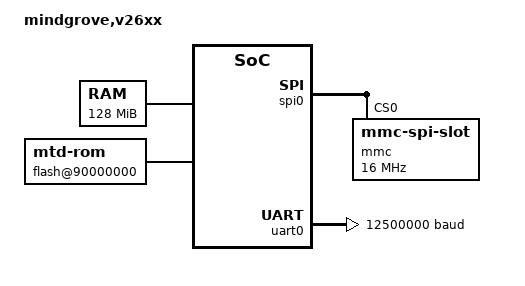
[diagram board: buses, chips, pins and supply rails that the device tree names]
/dts-v1/;

/ {
    #address-cells = <2>;
    #size-cells = <2>;
    compatible = "mindgrove,v26xx";
    model = "mindgrove,v26xx";

    aliases {
        serial0 = &uart0;
    };

    chosen {
        stdout-path = "serial0:1250000n8";
        /* Ensure bootargs point to the correct console */
        bootargs = "earlycon=sbi console=ttyLS0,1250000n8 root=/dev/mmcblk0p1 rootwait";
        
        opensbi_config: config {
            compatible = "opensbi,config";
            cold-boot-harts = <&CPU0 &CPU1 &CPU2 &CPU3>;
        };
    };

    /* * NEW: Reserved memory section. 
     * This tells Linux: "Do not touch this memory, it belongs to firmware/kernel text."
     */
    reserved-memory {
        #address-cells = <2>;
        #size-cells = <2>;
        ranges;

        /* Protect OpenSBI and the first 32MB of the kernel image */
        firmware_res: memory@80000000 {
            reg = <0x0 0x80000000 0x0 0x02000000>;
            no-map;
        };
    };

    /* Primary System RAM */
    memory@80000000 {
        device_type = "memory";
        reg = <0x0 0x80000000 0x0 0x8000000>; // 128MB
    };

    /* * FIXED: Changed device_type. 
     * If these are 'memory', Linux tries to use them as RAM. 
     * Flash cannot be used as system heap RAM.
     */
    flash@90000000 {
        compatible = "mtd-rom"; 
        reg = <0x0 0x90000000 0x0 0x8000000>;
        read-only;
    };

    psram@b0000000 {
        compatible = "mmio-sram";
        reg = <0x0 0xb0000000 0x0 0x8000000>;
    };

    cpus {
        #address-cells = <1>;
        #size-cells = <0>;
        timebase-frequency = <32768>;

        CPU0: cpu@0 {
            device_type = "cpu";
            reg = <0>;
            status = "okay";
            compatible = "mindgrove,c-class", "riscv";
            riscv,isa = "rv64imafdc";
            mmu-type = "riscv,sv39";
            clock-frequency = <1000000000>;
            phandle = <1>;
            CPU0_intc: interrupt-controller {
                #interrupt-cells = <1>;
                interrupt-controller;
                compatible = "riscv,cpu-intc";
            };
        };

        CPU1: cpu@1 {
            device_type = "cpu";
            reg = <1>;
            status = "okay";
            compatible = "mindgrove,c-class", "riscv";
            riscv,isa = "rv64imafdc";
            mmu-type = "riscv,sv39";
            clock-frequency = <1000000000>;
            phandle = <2>;
            CPU1_intc: interrupt-controller {
                #interrupt-cells = <1>;
                interrupt-controller;
                compatible = "riscv,cpu-intc";
            };
        };

        CPU2: cpu@2 {
            device_type = "cpu";
            reg = <2>;
            status = "okay";
            compatible = "mindgrove,c-class", "riscv";
            riscv,isa = "rv64imafdc";
            mmu-type = "riscv,sv39";
            clock-frequency = <1000000000>;
            phandle = <3>;
            CPU2_intc: interrupt-controller {
                #interrupt-cells = <1>;
                interrupt-controller;
                compatible = "riscv,cpu-intc";
            };
        };

        CPU3: cpu@3 {
            device_type = "cpu";
            reg = <3>;
            status = "okay";
            compatible = "mindgrove,c-class", "riscv";
            riscv,isa = "rv64imafdc";
            mmu-type = "riscv,sv39";
            clock-frequency = <1000000000>;
            phandle = <4>;
            CPU3_intc: interrupt-controller {
                #interrupt-cells = <1>;
                interrupt-controller;
                compatible = "riscv,cpu-intc";
            };
        };
    };

    soc {
        #address-cells = <2>;
        #size-cells = <2>;
        compatible = "mindgrove,v26xx-soc", "simple-bus";
        ranges;

        clint@2000000 {
            compatible = "riscv,clint0";
            interrupts-extended = <
                &CPU0_intc 3 &CPU0_intc 7
                &CPU1_intc 3 &CPU1_intc 7
                &CPU2_intc 3 &CPU2_intc 7
                &CPU3_intc 3 &CPU3_intc 7
            >;
            reg = <0x0 0x2000000 0x0 0xc0000>;
        };

        spi0: spi@20000 {
			compatible = "mindgrove,spi";
			reg = <0x0 0x20000 0x0 0x100>;
			spi-max-frequency = <35000000>;
			mindgrove,fifo-depth = <32>;
			mindgrove,max-bits-per-word = <8>;
			#address-cells = <1>;
			#size-cells = <0>;
			status = "okay";

			/* SPI-based SD card */
			mmc@0 {
				compatible = "mmc-spi-slot";
				reg = <0>;
				spi-max-frequency = <16000000>;
				voltage-ranges = <3200 3400>;
			};
		};
    };
    
    uart0: serial@11300 {
        compatible = "mindgrove,uart";
        reg = <0x0 0x11300 0x0 0x1000>;
        status = "okay";
        clock-frequency = <1000000000>;
        current-speed = <12500000>;
    };
};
